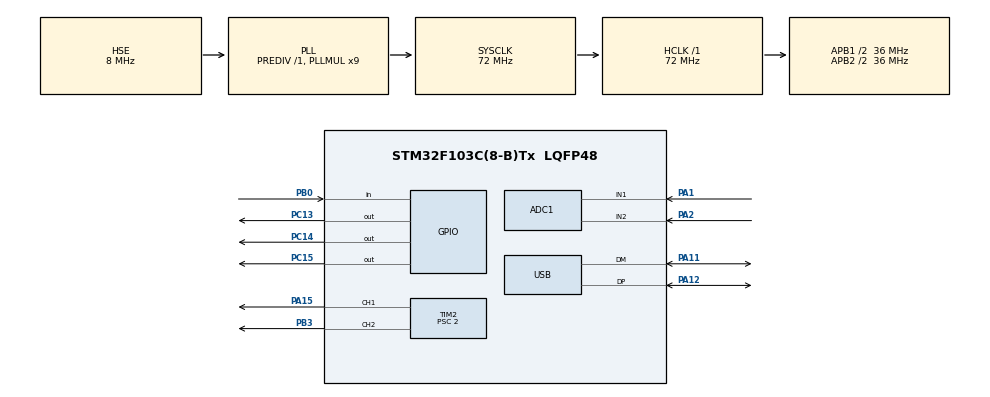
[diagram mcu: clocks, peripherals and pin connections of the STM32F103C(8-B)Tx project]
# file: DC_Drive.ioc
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ADC1.Channel-0\#ChannelRegularConversion=ADC_CHANNEL_1
ADC1.Channel-1\#ChannelRegularConversion=ADC_CHANNEL_2
ADC1.ContinuousConvMode=ENABLE
ADC1.NbrOfConversion=2
ADC1.NbrOfConversionFlag=1
ADC1.Rank-0\#ChannelRegularConversion=1
ADC1.Rank-1\#ChannelRegularConversion=2
ADC1.SamplingTime-0\#ChannelRegularConversion=ADC_SAMPLETIME_239CYCLES_5
ADC1.SamplingTime-1\#ChannelRegularConversion=ADC_SAMPLETIME_239CYCLES_5
ADC1.master=1
Dma.ADC1.0.Direction=DMA_PERIPH_TO_MEMORY
Dma.ADC1.0.Instance=DMA1_Channel1
Dma.ADC1.0.MemDataAlignment=DMA_MDATAALIGN_HALFWORD
Dma.ADC1.0.MemInc=DMA_MINC_ENABLE
Dma.ADC1.0.Mode=DMA_CIRCULAR
Dma.ADC1.0.PeriphDataAlignment=DMA_PDATAALIGN_HALFWORD
Dma.ADC1.0.PeriphInc=DMA_PINC_DISABLE
Dma.ADC1.0.Priority=DMA_PRIORITY_LOW
Dma.Request0=ADC1
IWDG.Prescaler=IWDG_PRESCALER_8
IWDG.Reload=1000
Mcu.Family=STM32F1
Mcu.Name=STM32F103C(8-B)Tx
Mcu.Package=LQFP48
NVIC.DMA1_Channel1_IRQn=true\:0\:0\:false\:false\:true\:false\:true
NVIC.PriorityGroup=NVIC_PRIORITYGROUP_4
NVIC.TIM2_IRQn=true\:0\:0\:false\:false\:true\:true\:true
NVIC.USB_LP_CAN1_RX0_IRQn=true\:0\:0\:false\:false\:true\:false\:true
PA1.Signal=ADCx_IN1
PA11.Mode=Device
PA11.Signal=USB_DM
PA12.Mode=Device
PA12.Signal=USB_DP
PA13.Mode=Serial_Wire
PA13.Signal=SYS_JTMS-SWDIO
PA14.Mode=Serial_Wire
PA14.Signal=SYS_JTCK-SWCLK
PA15.Signal=S_TIM2_CH1_ETR
PA2.Signal=ADCx_IN2
PB0.Signal=GPIO_Input
PB3.Signal=S_TIM2_CH2
PC13-TAMPER-RTC.Signal=GPIO_Output
PC14-OSC32_IN.Signal=GPIO_Output
PC15-OSC32_OUT.Signal=GPIO_Output
PD0-OSC_IN.Mode=HSE-External-Oscillator
PD0-OSC_IN.Signal=RCC_OSC_IN
PD1-OSC_OUT.Mode=HSE-External-Oscillator
PD1-OSC_OUT.Signal=RCC_OSC_OUT
ProjectManager.HeapSize=0x600
ProjectManager.StackSize=0x400
ProjectManager.TargetToolchain=TrueSTUDIO
RCC.ADCPresc=RCC_ADCPCLK2_DIV8
RCC.AHBFreq_Value=72000000
RCC.APB1CLKDivider=RCC_HCLK_DIV2
RCC.APB1Freq_Value=36000000
RCC.APB1TimFreq_Value=72000000
RCC.APB2CLKDivider=RCC_HCLK_DIV2
RCC.APB2Freq_Value=36000000
RCC.APB2TimFreq_Value=72000000
RCC.HCLKFreq_Value=72000000
RCC.PLLMUL=RCC_PLL_MUL9
RCC.SYSCLKFreq_VALUE=72000000
RCC.SYSCLKSource=RCC_SYSCLKSOURCE_PLLCLK
RCC.USBFreq_Value=48000000
RCC.USBPrescaler=RCC_USBCLKSOURCE_PLL_DIV1_5
SH.ADCx_IN1.0=ADC1_IN1,IN1
SH.ADCx_IN2.0=ADC1_IN2,IN2
SH.S_TIM2_CH1_ETR.0=TIM2_CH1,PWM Generation1 CH1
SH.S_TIM2_CH2.0=TIM2_CH2,PWM Generation2 CH2
TIM2.Channel-PWM\ Generation1\ CH1=TIM_CHANNEL_1
TIM2.Channel-PWM\ Generation2\ CH2=TIM_CHANNEL_2
TIM2.OCMode_PWM-PWM\ Generation2\ CH2=TIM_OCMODE_PWM2
TIM2.Period=1600
TIM2.Prescaler=2
USB_DEVICE.APP_RX_DATA_SIZE=128
USB_DEVICE.APP_TX_DATA_SIZE=128
USB_DEVICE.CLASS_NAME_FS=CDC
USB_DEVICE.VirtualMode=Cdc
USB_DEVICE.VirtualModeFS=Cdc_FS
VP_IWDG_VS_IWDG.Mode=IWDG_Activate
VP_TIM2_VS_ClockSourceINT.Mode=Internal
VP_USB_DEVICE_VS_USB_DEVICE_CDC_FS.Mode=CDC_FS
board=custom

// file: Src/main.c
/* USER CODE BEGIN Header */
/**
 ******************************************************************************
 * @file           : main.c
 * @brief          : Main program body
 ******************************************************************************
 * @attention
 *
 * <h2><center>&copy; Copyright (c) 2020 STMicroelectronics.
 * All rights reserved.</center></h2>
 *
 * This software component is licensed by ST under BSD 3-Clause license,
 * the "License"; You may not use this file except in compliance with the
 * License. You may obtain a copy of the License at:
 *                        opensource.org/licenses/BSD-3-Clause
 *
 ******************************************************************************
 */
/* USER CODE END Header */

#include "main.h"
#include "usb_device.h"

/* USER CODE BEGIN Includes */
#include "usbd_cdc_if.h"
/* USER CODE END Includes */

ADC_HandleTypeDef hadc1;
DMA_HandleTypeDef hdma_adc1;

IWDG_HandleTypeDef hiwdg;

TIM_HandleTypeDef htim2;

/* USER CODE BEGIN PV */
uint16_t ADC_Values[2];
__attribute__((__section__(".user_data"))) const uint16_t userConfig[16];
/* USER CODE END PV */

void SystemClock_Config(void);
static void MX_GPIO_Init(void);
static void MX_DMA_Init(void);
static void MX_ADC1_Init(void);
static void MX_TIM2_Init(void);
static void MX_IWDG_Init(void);

/* USER CODE BEGIN 0 */

void HAL_TIM_PeriodElapsedCallback (TIM_HandleTypeDef *htim);
/* USER CODE END 0 */

int main(void)
{

  /* MCU Configuration--------------------------------------------------------*/

  /* Reset of all peripherals, Initializes the Flash interface and the Systick. */
  HAL_Init();

  /* Configure the system clock */
  SystemClock_Config();

  /* Initialize all configured peripherals */
  MX_GPIO_Init();
  MX_DMA_Init();
  MX_ADC1_Init();
  MX_TIM2_Init();
  MX_USB_DEVICE_Init();
  MX_IWDG_Init();
  /* USER CODE BEGIN 2 */
  InitUserVariables();
  Alpha_State_Ptr = *Reverse;

  HAL_ADC_Start_DMA(&hadc1, (uint32_t*) ADC_Values, 2);
  __HAL_TIM_ENABLE_IT(&htim2, TIM_IT_UPDATE );
  HAL_TIM_PWM_Start(&htim2,TIM_CHANNEL_1);
  HAL_TIM_PWM_Start(&htim2,TIM_CHANNEL_2);

  /* USER CODE END 2 */

  /* Infinite loop */
	while (1) {

    /* USER CODE BEGIN 3 */
		if (_sysTickFlagScan) {
			Alpha_State_Ptr();
			Idle_Works();
			if (_10msFlagScan) {
				__NOP();
			}

			HAL_IWDG_Refresh(&hiwdg);
			_sysTickFlagScan=FALSE;
			_5msFlagScan=FALSE;
			_10msFlagScan=FALSE;
			_100msFlagScan=FALSE;
			_1000msFlagScan=FALSE;
		}

	}
  /* USER CODE END 3 */
}

void SystemClock_Config(void)
{
  RCC_OscInitTypeDef RCC_OscInitStruct = {0};
  RCC_ClkInitTypeDef RCC_ClkInitStruct = {0};
  RCC_PeriphCLKInitTypeDef PeriphClkInit = {0};

  /** Initializes the CPU, AHB and APB busses clocks
  */
  RCC_OscInitStruct.OscillatorType = RCC_OSCILLATORTYPE_LSI|RCC_OSCILLATORTYPE_HSE;
  RCC_OscInitStruct.HSEState = RCC_HSE_ON;
  RCC_OscInitStruct.HSEPredivValue = RCC_HSE_PREDIV_DIV1;
  RCC_OscInitStruct.HSIState = RCC_HSI_ON;
  RCC_OscInitStruct.LSIState = RCC_LSI_ON;
  RCC_OscInitStruct.PLL.PLLState = RCC_PLL_ON;
  RCC_OscInitStruct.PLL.PLLSource = RCC_PLLSOURCE_HSE;
  RCC_OscInitStruct.PLL.PLLMUL = RCC_PLL_MUL9;
  if (HAL_RCC_OscConfig(&RCC_OscInitStruct) != HAL_OK)
  {
    Error_Handler();
  }
  /** Initializes the CPU, AHB and APB busses clocks
  */
  RCC_ClkInitStruct.ClockType = RCC_CLOCKTYPE_HCLK|RCC_CLOCKTYPE_SYSCLK
                              |RCC_CLOCKTYPE_PCLK1|RCC_CLOCKTYPE_PCLK2;
  RCC_ClkInitStruct.SYSCLKSource = RCC_SYSCLKSOURCE_PLLCLK;
  RCC_ClkInitStruct.AHBCLKDivider = RCC_SYSCLK_DIV1;
  RCC_ClkInitStruct.APB1CLKDivider = RCC_HCLK_DIV2;
  RCC_ClkInitStruct.APB2CLKDivider = RCC_HCLK_DIV2;

  if (HAL_RCC_ClockConfig(&RCC_ClkInitStruct, FLASH_LATENCY_2) != HAL_OK)
  {
    Error_Handler();
  }
  PeriphClkInit.PeriphClockSelection = RCC_PERIPHCLK_ADC|RCC_PERIPHCLK_USB;
  PeriphClkInit.AdcClockSelection = RCC_ADCPCLK2_DIV8;
  PeriphClkInit.UsbClockSelection = RCC_USBCLKSOURCE_PLL_DIV1_5;
  if (HAL_RCCEx_PeriphCLKConfig(&PeriphClkInit) != HAL_OK)
  {
    Error_Handler();
  }
}

static void MX_ADC1_Init(void)
{

  ADC_ChannelConfTypeDef sConfig = {0};

  /** Common config
  */
  hadc1.Instance = ADC1;
  hadc1.Init.ScanConvMode = ADC_SCAN_ENABLE;
  hadc1.Init.ContinuousConvMode = ENABLE;
  hadc1.Init.DiscontinuousConvMode = DISABLE;
  hadc1.Init.ExternalTrigConv = ADC_SOFTWARE_START;
  hadc1.Init.DataAlign = ADC_DATAALIGN_RIGHT;
  hadc1.Init.NbrOfConversion = 2;
  if (HAL_ADC_Init(&hadc1) != HAL_OK)
  {
    Error_Handler();
  }
  /** Configure Regular Channel
  */
  sConfig.Channel = ADC_CHANNEL_1;
  sConfig.Rank = ADC_REGULAR_RANK_1;
  sConfig.SamplingTime = ADC_SAMPLETIME_239CYCLES_5;
  if (HAL_ADC_ConfigChannel(&hadc1, &sConfig) != HAL_OK)
  {
    Error_Handler();
  }
  /** Configure Regular Channel
  */
  sConfig.Channel = ADC_CHANNEL_2;
  sConfig.Rank = ADC_REGULAR_RANK_2;
  if (HAL_ADC_ConfigChannel(&hadc1, &sConfig) != HAL_OK)
  {
    Error_Handler();
  }

}

static void MX_IWDG_Init(void)
{

  hiwdg.Instance = IWDG;
  hiwdg.Init.Prescaler = IWDG_PRESCALER_8;
  hiwdg.Init.Reload = 1000;
  if (HAL_IWDG_Init(&hiwdg) != HAL_OK)
  {
    Error_Handler();
  }

}

static void MX_TIM2_Init(void)
{

  TIM_ClockConfigTypeDef sClockSourceConfig = {0};
  TIM_MasterConfigTypeDef sMasterConfig = {0};
  TIM_OC_InitTypeDef sConfigOC = {0};

  htim2.Instance = TIM2;
  htim2.Init.Prescaler = 2;
  htim2.Init.CounterMode = TIM_COUNTERMODE_UP;
  htim2.Init.Period = 1600;
  htim2.Init.ClockDivision = TIM_CLOCKDIVISION_DIV1;
  htim2.Init.AutoReloadPreload = TIM_AUTORELOAD_PRELOAD_DISABLE;
  if (HAL_TIM_Base_Init(&htim2) != HAL_OK)
  {
    Error_Handler();
  }
  sClockSourceConfig.ClockSource = TIM_CLOCKSOURCE_INTERNAL;
  if (HAL_TIM_ConfigClockSource(&htim2, &sClockSourceConfig) != HAL_OK)
  {
    Error_Handler();
  }
  if (HAL_TIM_PWM_Init(&htim2) != HAL_OK)
  {
    Error_Handler();
  }
  sMasterConfig.MasterOutputTrigger = TIM_TRGO_RESET;
  sMasterConfig.MasterSlaveMode = TIM_MASTERSLAVEMODE_DISABLE;
  if (HAL_TIMEx_MasterConfigSynchronization(&htim2, &sMasterConfig) != HAL_OK)
  {
    Error_Handler();
  }
  sConfigOC.OCMode = TIM_OCMODE_PWM1;
  sConfigOC.Pulse = 0;
  sConfigOC.OCPolarity = TIM_OCPOLARITY_HIGH;
  sConfigOC.OCFastMode = TIM_OCFAST_DISABLE;
  if (HAL_TIM_PWM_ConfigChannel(&htim2, &sConfigOC, TIM_CHANNEL_1) != HAL_OK)
  {
    Error_Handler();
  }
  sConfigOC.OCMode = TIM_OCMODE_PWM2;
  if (HAL_TIM_PWM_ConfigChannel(&htim2, &sConfigOC, TIM_CHANNEL_2) != HAL_OK)
  {
    Error_Handler();
  }
  /* USER CODE BEGIN TIM2_Init 2 */
  TIM2PERIOD=htim2.Init.Period;
  /* USER CODE END TIM2_Init 2 */
  HAL_TIM_MspPostInit(&htim2);

}

static void MX_DMA_Init(void)
{

  /* DMA controller clock enable */
  __HAL_RCC_DMA1_CLK_ENABLE();

  /* DMA interrupt init */
  /* DMA1_Channel1_IRQn interrupt configuration */
  HAL_NVIC_SetPriority(DMA1_Channel1_IRQn, 0, 0);
  HAL_NVIC_EnableIRQ(DMA1_Channel1_IRQn);

}

static void MX_GPIO_Init(void)
{
  GPIO_InitTypeDef GPIO_InitStruct = {0};

  /* GPIO Ports Clock Enable */
  __HAL_RCC_GPIOC_CLK_ENABLE();
  __HAL_RCC_GPIOD_CLK_ENABLE();
  __HAL_RCC_GPIOA_CLK_ENABLE();
  __HAL_RCC_GPIOB_CLK_ENABLE();

  /*Configure GPIO pin Output Level */
  HAL_GPIO_WritePin(GPIOC, GPIO_PIN_13|GPIO_PIN_14|GPIO_PIN_15, GPIO_PIN_RESET);

  /*Configure GPIO pins : PC13 PC14 PC15 */
  GPIO_InitStruct.Pin = GPIO_PIN_13|GPIO_PIN_14|GPIO_PIN_15;
  GPIO_InitStruct.Mode = GPIO_MODE_OUTPUT_PP;
  GPIO_InitStruct.Pull = GPIO_NOPULL;
  GPIO_InitStruct.Speed = GPIO_SPEED_FREQ_LOW;
  HAL_GPIO_Init(GPIOC, &GPIO_InitStruct);

  /*Configure GPIO pin : PB0 */
  GPIO_InitStruct.Pin = GPIO_PIN_0;
  GPIO_InitStruct.Mode = GPIO_MODE_INPUT;
  GPIO_InitStruct.Pull = GPIO_NOPULL;
  HAL_GPIO_Init(GPIOB, &GPIO_InitStruct);

}

/* USER CODE BEGIN 4 */

void HAL_TIM_PeriodElapsedCallback(TIM_HandleTypeDef *htim) {
	// Prevent unused argument(s) compilation warning
	static uint16_t tiktok = 0;

	if (htim->Instance == TIM2) {

		if ((tiktok % 2)) {
			htim->Instance->CCR1 = (htim->Init.Period + 5); /* overall period 1600 0x640*/
			htim->Instance->CCR2 = Duty;
		} else {
			htim->Instance->CCR1 = Duty; /* overall period 1600 0x640*/
			htim->Instance->CCR2 = (htim->Init.Period + 5);
		}

		tiktok++;
	}

}

void Idle_Works(void) {

	static uint8_t ADCSAvgCounter = 0, EnableMotor=0;
	static const char CR[] = { 0x0A };
	static enum PrintMode {
		Intro, Giris, Kayit
	} PrintMode = Intro;
	static uint8_t ParametreCount = 0;

	static char TransmitData[128] = { 0 }, str[10];
	static uint16_t POT1_ConvSum = 0, POT2_ConvSum = 0, Rcv; /*Default timeout*/
	/*ADC Clock is set to 4.5 Mhz, Sampling time 239.5 cycles, +12.5 cycles conversion time two conversion
	 *  : 4.5e6/(2*(71.5+12.5)) app. 10kHz  */

	POT1_ConvSum += ADC_Values[0];
	POT2_ConvSum += ADC_Values[1];
	ADCSAvgCounter++;
	if (ADCSAvgCounter == 16) {
		ADCSAvgCounter = 0;
		Pot1_ConvAvg = POT1_ConvSum >> 4;
		Pot2_ConvAvg = POT2_ConvSum >> 4;
		Pot1_ConvAvg=Pot1_ConvAvg;
		Pot2_ConvAvg=Pot2_ConvAvg;
		POT1_ConvSum = 0;
		POT2_ConvSum = 0;
		if (EnableMotor==0)	{
			EnableMotor=1;
	 	    HAL_GPIO_WritePin(GPIOC,GPIO_PIN_14, GPIO_PIN_SET);
		}

	}

	if (check == 1) {
		if (PrintMode == Intro) {
			TransmitData[0] = 0x0A;			// new line
			for (int i = 1; i < 128; i++) {
				TransmitData[i] = 0;
			}

			for (int i = 0; i < NUMBER_OF_PARAMETERS; i++) {
				strcat(TransmitData, StrArr[i]);
				sprintf(str, "%d", UserParamArray[i]);
				strcat(str, CR);
				strcat(TransmitData, str);
			}

			strcat(TransmitData, CR);
			strcat(TransmitData, StrArr[NUMBER_OF_PARAMETERS]);

			CDC_Transmit_FS((uint8_t *) TransmitData, strlen(TransmitData));
			for (int i = 0; i < dataSize; i++) {
				ReceivedData[i] = 0;
			}

			check = 0;
			PrintMode = Giris;
			ParametreCount = 0;
		}

		else if (PrintMode == Giris) {
			for (int i = 0; i < 128; i++) {
				TransmitData[i] = 0;
			}
			Rcv = atoi(ReceivedData);
			for (int i = 0; i < dataSize; i++) {
				ReceivedData[i] = 0;
			}

			if ( ((Rcv <= 100) && ParametreCount<2) || ((Rcv <= 5000) && ParametreCount>=2 ))			 {
				UserParamArray[ParametreCount] = Rcv;

				sprintf(str, "%d", UserParamArray[ParametreCount]);
				strcat(TransmitData, str);

				ParametreCount++;
				strcat(TransmitData, CR);

				if (ParametreCount < NUMBER_OF_PARAMETERS)
					strcat(TransmitData,
							StrArr[NUMBER_OF_PARAMETERS + ParametreCount]);
				else {
					PrintMode = Kayit;
					strcat(TransmitData, CR);
					strcat(TransmitData, StrArr[NUMBER_OF_STRING - 2]);
				}
				CDC_Transmit_FS((uint8_t *) TransmitData, strlen(TransmitData));

			}

			else {
				strcat(TransmitData, CR);
				strcat(TransmitData, StrArr[NUMBER_OF_STRING - 3]);
				strcat(TransmitData, CR);
				strcat(TransmitData, StrArr[NUMBER_OF_PARAMETERS + ParametreCount]);
				CDC_Transmit_FS((uint8_t *) TransmitData, strlen(TransmitData));
			}

			check = 0;
		}

		else if (PrintMode == Kayit) {
			for (int i = 0; i < 128; i++) {
				TransmitData[i] = 0;
			}
			if (ReceivedData[0] == 'y') {
				for (int i = 0; i < dataSize; i++) {
					ReceivedData[i] = 0;
				}
				ParamArray[0] = (uint16_t)((float) TIM2PERIOD * (float) UserParamArray[0]*0.01f);
				ParamArray[1] = (uint16_t)((float) TIM2PERIOD * (float) UserParamArray[1]*0.01f);
				ParamArray[2] = UserParamArray[2];				// ms
				ParamArray[3] = UserParamArray[3];				// ms

				strcat(TransmitData, CR);
				strcat(TransmitData, StrArr[NUMBER_OF_STRING - 1]);
				CDC_Transmit_FS((uint8_t *) TransmitData, strlen(TransmitData));
				SaveandExit(UserParamArray);
			}
			PrintMode = Intro;
			check = 0;
		}
	}
}

void Forward (void){

	static bool ForwardFlag = 0;
	static uint16_t Forwardimeout = 100; /*Default timeout*/
	static uint8_t SoftStartCounter=0;

	/* State entry works*/
	if (ForwardFlag) {
		ForwardFlag = FALSE;
		StateSandClock = 0;
		Duty = 0;
		Forwardimeout= 100+(uint16_t) ((float) ParamArray[2] * (float) Pot1_ConvAvg/4096.0f);
		SoftStartCounter=32;
	}

	if (_10msFlagScan)	{
		StateSandClock += 10;

		if (SoftStartCounter>0 && ParamArray[0]>SoftStartDuration)	{
			SoftStartCounter--;
			Duty=Duty+(ParamArray[0]>>SoftStartStep);
		}
		else Duty=ParamArray[0];
	}

	if (StateSandClock > Forwardimeout) {

		HAL_TIM_PWM_Stop(&htim2,TIM_CHANNEL_1);
		HAL_TIM_PWM_Stop(&htim2,TIM_CHANNEL_2);
		Alpha_State_Ptr=*Wait_Forward;
		ForwardFlag = TRUE;
		StateSandClock=0;
	}

}

void Wait_Reverse (void){

	static __IO uint32_t tmpccmrx;
	static bool WaitReverseFlag = 0;
	static uint16_t Wait_ReverseTimeout = 100;  /*Default timeout*/

	/* State entry works*/
	if (WaitReverseFlag) {
		WaitReverseFlag = FALSE;
		StateSandClock = 0;
		Wait_ReverseTimeout= 100+(uint16_t) ((float) ParamArray[3] * (float) Pot2_ConvAvg/4096.0f);
	}

	if (_10msFlagScan)	StateSandClock += 10;

	if (StateSandClock > Wait_ReverseTimeout) {

		/*State Exit Works*/
		tmpccmrx = htim2.Instance->CCMR1;
		/* Reset the Output Compare mode and Capture/Compare selection Bits */
		tmpccmrx &= ~TIM_CCMR1_OC1M;
		tmpccmrx &= ~TIM_CCMR1_OC2M;
		tmpccmrx |= (TIM_OCMODE_PWM1);
		tmpccmrx |= (TIM_OCMODE_PWM2 << 8U);
		htim2.Instance->CCMR1 = tmpccmrx;
		HAL_TIM_PWM_Start(&htim2, TIM_CHANNEL_1);
		HAL_TIM_PWM_Start(&htim2, TIM_CHANNEL_2);
		Alpha_State_Ptr = *Forward; /*next state*/
		StateSandClock=0;
		WaitReverseFlag=TRUE;
	}
}

void Reverse (void){

	static bool ReverseFlag = 0;
	static uint16_t ReverseTimeout = 100; /*Default timeout*/
	static uint8_t SoftStartCounter=0;

	/* State entry works*/
	if (ReverseFlag) {
		ReverseFlag = FALSE;
		StateSandClock = 0;
		ReverseTimeout = 3000; /* ms, Can be adjusted by UCB Communication*/
		SoftStartCounter=SoftStartDuration;
		Duty=0;
	}

	if (_10msFlagScan)	{
		StateSandClock += 10;

		if (SoftStartCounter>0 && ParamArray[0]>SoftStartDuration)	{
			SoftStartCounter--;
			Duty=Duty+(ParamArray[1]>>SoftStartStep);
		}
		else Duty=ParamArray[1];
	}

	if (StateSandClock > ReverseTimeout || 		HAL_GPIO_ReadPin(GPIOB,GPIO_PIN_0)==GPIO_PIN_RESET ) {

		HAL_TIM_PWM_Stop(&htim2,TIM_CHANNEL_1);
		HAL_TIM_PWM_Stop(&htim2,TIM_CHANNEL_2);
		HAL_GPIO_WritePin(GPIOC,GPIO_PIN_14, GPIO_PIN_RESET);	//Enable Driver Chip
		Alpha_State_Ptr=*Wait_Reverse;
		ReverseFlag=TRUE;
		StateSandClock=0;
	}

	/*exit reverse state */
}

void Wait_Forward(void) {
	static __IO uint32_t tmpccmrx;
	static bool WaitForwardFlag = 0;
	static uint16_t Wait_ForwardTimeout = 100; /*Default timeout*/

	/* State entry works*/
	if (WaitForwardFlag) {
		WaitForwardFlag = FALSE;
		StateSandClock = 0;
		Wait_ForwardTimeout = 1000; /* ms, Can be adjusted by UCB Communication*/
	}

	if (_10msFlagScan)	StateSandClock += 10;

	if (StateSandClock > Wait_ForwardTimeout) {

		/*State Exit Works*/
		tmpccmrx = htim2.Instance->CCMR1;
		/* Reset the Output Compare mode and Capture/Compare selection Bits */
		tmpccmrx &= ~TIM_CCMR1_OC1M;
		tmpccmrx &= ~TIM_CCMR1_OC2M;
		tmpccmrx |= (TIM_OCMODE_PWM2);
		tmpccmrx |= (TIM_OCMODE_PWM1 << 8U);
		htim2.Instance->CCMR1 = tmpccmrx;

		Duty = 0;
		HAL_TIM_PWM_Start(&htim2, TIM_CHANNEL_1);
		HAL_TIM_PWM_Start(&htim2, TIM_CHANNEL_2);
		HAL_GPIO_WritePin(GPIOC,GPIO_PIN_14, GPIO_PIN_SET);	//Enable Driver Chip
		Alpha_State_Ptr = *Reverse; /*next state*/
		WaitForwardFlag=TRUE;
		StateSandClock=0;
	}
}

//	tick period: uwTickFreq			/*Period in ms */
//called from void SysTick_Handler(void) xx..it.c
void SysTickCountersUpdate(void) {
	//Counter Definition
	static unsigned int _5msCounter = 0;
	static unsigned int _10msCounter = 0;
//	static unsigned int _50msCounter = 0;
	static unsigned int _100msCounter = 0;
//    static unsigned int _500msCounter = 0;

	_sysTickFlagScan = TRUE;

//    CheckButtons();
//    //_msTickCounter++;
//
    _5msCounter++;
    if(_5msCounter >= Tickin_1ms)	{
       _5msFlagScan = TRUE;
        _5msCounter = 0;
    }

    _10msCounter++;
    if(_10msCounter >= Tickin_10ms)	{
       _10msFlagScan = TRUE;
       _10msCounter = 0;
    }

    _100msCounter++;
    if(_100msCounter >= Tickin_100ms)	{
       _100msFlagScan = TRUE;
       _100msCounter = 0;
    }

//
//    _50msCounter++;
//    if(_50msCounter>=_50msTickCount)
//    {
//        _50msFlagScan = TRUE;
//        _50msCounter = 0;
//    }
//
}

void SaveandExit (uint16_t * Parameters)		{

//	 HAL_StatusTypeDef WriteStatus;
	 static uint32_t pageError, xx, DelayDuration=1000;

	 static FLASH_EraseInitTypeDef eraseInit = {
	    FLASH_TYPEERASE_PAGES,  /*!< Pages erase only (Mass erase is disabled)*/
	    0,                      /*!< Select banks to erase when Mass erase is enabled.*/
		FLASH_PAGE_62,   /*!< Initial FLASH page address to erase when mass erase is disabled
	                                 This parameter must be a number between Min_Data = 0x08000000 and Max_Data = FLASH_BANKx_END
	                                 (x = 1 or 2 depending on devices)*/
	    1                       /*!< Number of pagess to be erased.
	                                 This parameter must be a value between Min_Data = 1 and Max_Data = (max number of pages - value of initial page)*/
	};

	HAL_FLASH_Unlock();
	//FLASH_PageErase()FLASH_PAGE_62;
	HAL_FLASHEx_Erase(&eraseInit, &pageError);

	HAL_FLASH_Program( FLASH_TYPEPROGRAM_HALFWORD, (uint32_t)userConfig, 0xABCD);
	xx=DelayDuration;
	while(xx>0) { xx--; }
	HAL_FLASH_Program( FLASH_TYPEPROGRAM_HALFWORD, (uint32_t)&userConfig[1], Parameters[0]);
	xx=DelayDuration;
	while(xx>0) { xx--; }
	HAL_FLASH_Program( FLASH_TYPEPROGRAM_HALFWORD, (uint32_t)&userConfig[2], Parameters[1]);
	xx=DelayDuration;
	while(xx>0) { xx--; }
	HAL_FLASH_Program( FLASH_TYPEPROGRAM_HALFWORD, (uint32_t)&userConfig[3], Parameters[2]);
	xx=DelayDuration;
	while(xx>0) { xx--; }
	HAL_FLASH_Program( FLASH_TYPEPROGRAM_HALFWORD, (uint32_t)&userConfig[4], Parameters[3]);
	xx=DelayDuration;
	while(xx>0) { xx--; }
	HAL_FLASH_Program( FLASH_TYPEPROGRAM_HALFWORD, (uint32_t)&userConfig[5], 0xABCD);			// yazar yazmaz lock deyince bir problem var sanýrým

	HAL_FLASH_Lock();
}

/* USER CODE END 4 */

void Error_Handler(void)
{
}

/************************ (C) COPYRIGHT STMicroelectronics *****END OF FILE****/
